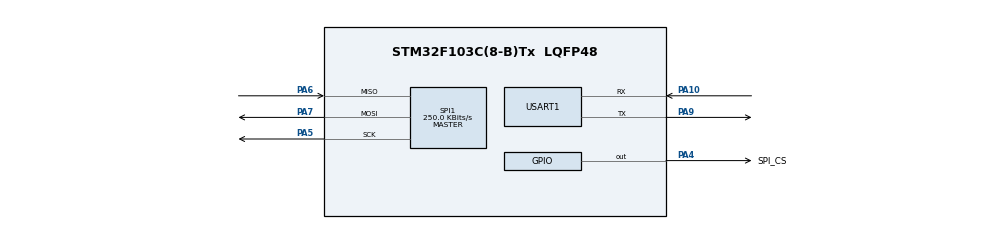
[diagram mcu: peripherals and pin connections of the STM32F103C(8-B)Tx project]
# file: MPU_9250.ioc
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Mcu.Family=STM32F1
Mcu.Name=STM32F103C(8-B)Tx
Mcu.Package=LQFP48
NVIC.PriorityGroup=NVIC_PRIORITYGROUP_4
NVIC.TIM2_IRQn=true\:0\:0\:false\:false\:true\:true\:true\:true
PA10.Mode=Asynchronous
PA10.Signal=USART1_RX
PA4.GPIO_Label=SPI_CS
PA4.Signal=GPIO_Output
PA5.Mode=Full_Duplex_Master
PA5.Signal=SPI1_SCK
PA6.Mode=Full_Duplex_Master
PA6.Signal=SPI1_MISO
PA7.Mode=Full_Duplex_Master
PA7.Signal=SPI1_MOSI
PA9.Mode=Asynchronous
PA9.Signal=USART1_TX
ProjectManager.HeapSize=0x200
ProjectManager.StackSize=0x400
ProjectManager.TargetToolchain=STM32CubeIDE
RCC.APB1Freq_Value=8000000
RCC.APB2Freq_Value=8000000
SPI1.BaudRatePrescaler=SPI_BAUDRATEPRESCALER_32
SPI1.CLKPhase=SPI_PHASE_2EDGE
SPI1.CLKPolarity=SPI_POLARITY_HIGH
SPI1.CalculateBaudRate=250.0 KBits/s
SPI1.Direction=SPI_DIRECTION_2LINES
SPI1.Mode=SPI_MODE_MASTER
SPI1.VirtualType=VM_MASTER
TIM2.Prescaler=7999
USART1.VirtualMode=VM_ASYNC
VP_SYS_VS_ND.Mode=No_Debug
VP_TIM2_VS_ClockSourceINT.Mode=Internal
board=custom

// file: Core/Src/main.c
/* USER CODE BEGIN Header */
/**
  ******************************************************************************
  * @file           : main.c
  * @brief          : Main program body
  ******************************************************************************
  * @attention
  *
  * Copyright (c) 2025 STMicroelectronics.
  * All rights reserved.
  *
  * This software is licensed under terms that can be found in the LICENSE file
  * in the root directory of this software component.
  * If no LICENSE file comes with this software, it is provided AS-IS.
  *
  ******************************************************************************
  */
/* USER CODE END Header */
#include "main.h"

/* USER CODE BEGIN Includes */
#include "math.h"
/* USER CODE END Includes */

SPI_HandleTypeDef hspi1;

TIM_HandleTypeDef htim2;

UART_HandleTypeDef huart1;

/* USER CODE BEGIN PV */
volatile uint8_t my_timer= 0;
/* USER CODE END PV */

void SystemClock_Config(void);
static void MX_GPIO_Init(void);
static void MX_SPI1_Init(void);
static void MX_USART1_UART_Init(void);
static void MX_TIM2_Init(void);

/* USER CODE BEGIN PFP */
void mpu9250_veri(uint8_t reg, uint8_t *data, uint8_t data_length);
/* USER CODE END PFP */

int main(void)
{

  /* MCU Configuration--------------------------------------------------------*/

  /* Reset of all peripherals, Initializes the Flash interface and the Systick. */
  HAL_Init();

  /* Configure the system clock */
  SystemClock_Config();

  /* Initialize all configured peripherals */
  MX_GPIO_Init();
  MX_SPI1_Init();
  MX_USART1_UART_Init();
  MX_TIM2_Init();
  /* USER CODE BEGIN 2 */
  int16_t accel_data_x;
  int16_t accel_data_y;
  int16_t accel_data_z;
  int16_t gyro_data_x;
  int16_t gyro_data_y;
  int16_t gyro_data_z;
  uint8_t imu_data[14];
  uint8_t imu_data_2[14];
  float accel_x;
  float accel_y;
  float accel_z;

  float theta_roll;
  float theta_pitch;
  /* USER CODE END 2 */

  /* Infinite loop */
  while (1)
  {
	  if(my_timer){
		  mpu9250_veri(59, imu_data, sizeof(imu_data));
		  accel_data_x = ((int16_t)imu_data[0]<<8) + imu_data[1]; //shift 8 bits ve bir sonraki byte'ı ekle
		  accel_data_y = ((int16_t)imu_data[2]<<8) + imu_data[3]; // y axis
		  accel_data_z = ((int16_t)imu_data[4]<<8) + imu_data[5]; // z axis

		  mpu9250_veri(67, imu_data_2, sizeof(imu_data_2));
		  gyro_data_x = ((int16_t)imu_data_2[0]<<8) + imu_data_2[1]; //shift 8 bits ve bir sonraki byte'ı ekle
		  gyro_data_y = ((int16_t)imu_data_2[2]<<8) + imu_data_2[3]; // y axis
		  gyro_data_z = ((int16_t)imu_data_2[4]<<8) + imu_data_2[5]; // z axis
		  my_timer = 0;

		  accel_x = accel_data_x/ 16384.0f;
		  accel_y = accel_data_y/ 16384.0f;
		  accel_z = accel_data_z/ 16384.0f;

		  theta_roll = atan2(accel_y , sqrt(accel_z*accel_z + accel_x*accel_x))*(180/3.142);
		  theta_pitch = atan2(-accel_x , sqrt(accel_z*accel_z + accel_y*accel_y))*(180/3.142);

		  char tx_buffer[64];  // Yazı için buffer
		  char tx_buffer_1[64];  // Yazı için buffer
		  char tx_buffer_2[64];  // Yazı için buffer

		  sprintf(tx_buffer, "accX:%d accY:%d accZ:%d\r", accel_data_x, accel_data_y, accel_data_z);
		  HAL_UART_Transmit(&huart1, (uint8_t*)tx_buffer, strlen(tx_buffer), 100);

		    if((accel_data_x > 11500 || accel_data_x < -11500) ||
		       (accel_data_y > 11500 || accel_data_y < -11500)){
		        HAL_GPIO_WritePin(GPIOA, GPIO_PIN_2, GPIO_PIN_SET); // Aktif et
		    } else {
		        HAL_GPIO_WritePin(GPIOA, GPIO_PIN_2, GPIO_PIN_RESET); // Pasif et
		    }

	  }

  }
}

void SystemClock_Config(void)
{
  RCC_OscInitTypeDef RCC_OscInitStruct = {0};
  RCC_ClkInitTypeDef RCC_ClkInitStruct = {0};

  /** Initializes the RCC Oscillators according to the specified parameters
  * in the RCC_OscInitTypeDef structure.
  */
  RCC_OscInitStruct.OscillatorType = RCC_OSCILLATORTYPE_HSI;
  RCC_OscInitStruct.HSIState = RCC_HSI_ON;
  RCC_OscInitStruct.HSICalibrationValue = RCC_HSICALIBRATION_DEFAULT;
  RCC_OscInitStruct.PLL.PLLState = RCC_PLL_NONE;
  if (HAL_RCC_OscConfig(&RCC_OscInitStruct) != HAL_OK)
  {
    Error_Handler();
  }

  /** Initializes the CPU, AHB and APB buses clocks
  */
  RCC_ClkInitStruct.ClockType = RCC_CLOCKTYPE_HCLK|RCC_CLOCKTYPE_SYSCLK
                              |RCC_CLOCKTYPE_PCLK1|RCC_CLOCKTYPE_PCLK2;
  RCC_ClkInitStruct.SYSCLKSource = RCC_SYSCLKSOURCE_HSI;
  RCC_ClkInitStruct.AHBCLKDivider = RCC_SYSCLK_DIV1;
  RCC_ClkInitStruct.APB1CLKDivider = RCC_HCLK_DIV1;
  RCC_ClkInitStruct.APB2CLKDivider = RCC_HCLK_DIV1;

  if (HAL_RCC_ClockConfig(&RCC_ClkInitStruct, FLASH_LATENCY_0) != HAL_OK)
  {
    Error_Handler();
  }
}

static void MX_SPI1_Init(void)
{

  /* SPI1 parameter configuration*/
  hspi1.Instance = SPI1;
  hspi1.Init.Mode = SPI_MODE_MASTER;
  hspi1.Init.Direction = SPI_DIRECTION_2LINES;
  hspi1.Init.DataSize = SPI_DATASIZE_8BIT;
  hspi1.Init.CLKPolarity = SPI_POLARITY_HIGH;
  hspi1.Init.CLKPhase = SPI_PHASE_2EDGE;
  hspi1.Init.NSS = SPI_NSS_SOFT;
  hspi1.Init.BaudRatePrescaler = SPI_BAUDRATEPRESCALER_32;
  hspi1.Init.FirstBit = SPI_FIRSTBIT_MSB;
  hspi1.Init.TIMode = SPI_TIMODE_DISABLE;
  hspi1.Init.CRCCalculation = SPI_CRCCALCULATION_DISABLE;
  hspi1.Init.CRCPolynomial = 10;
  if (HAL_SPI_Init(&hspi1) != HAL_OK)
  {
    Error_Handler();
  }

}

static void MX_TIM2_Init(void)
{

  /* USER CODE BEGIN TIM2_Init 0 */
	HAL_NVIC_SetPriority(TIM2_IRQn, 0, 0);
	HAL_NVIC_EnableIRQ(TIM2_IRQn);

  /* USER CODE END TIM2_Init 0 */

  TIM_ClockConfigTypeDef sClockSourceConfig = {0};
  TIM_MasterConfigTypeDef sMasterConfig = {0};

  htim2.Instance = TIM2;
  htim2.Init.Prescaler = 7999;
  htim2.Init.CounterMode = TIM_COUNTERMODE_UP;
  htim2.Init.Period = 500;
  htim2.Init.ClockDivision = TIM_CLOCKDIVISION_DIV1;
  htim2.Init.AutoReloadPreload = TIM_AUTORELOAD_PRELOAD_DISABLE;
  if (HAL_TIM_Base_Init(&htim2) != HAL_OK)
  {
    Error_Handler();
  }
  sClockSourceConfig.ClockSource = TIM_CLOCKSOURCE_INTERNAL;
  if (HAL_TIM_ConfigClockSource(&htim2, &sClockSourceConfig) != HAL_OK)
  {
    Error_Handler();
  }
  sMasterConfig.MasterOutputTrigger = TIM_TRGO_RESET;
  sMasterConfig.MasterSlaveMode = TIM_MASTERSLAVEMODE_DISABLE;
  if (HAL_TIMEx_MasterConfigSynchronization(&htim2, &sMasterConfig) != HAL_OK)
  {
    Error_Handler();
  }
  /* USER CODE BEGIN TIM2_Init 2 */
  HAL_TIM_Base_Start_IT(&htim2);
  HAL_TIM_Base_Start(&htim2);
  /* USER CODE END TIM2_Init 2 */

}

static void MX_USART1_UART_Init(void)
{

  huart1.Instance = USART1;
  huart1.Init.BaudRate = 115200;
  huart1.Init.WordLength = UART_WORDLENGTH_8B;
  huart1.Init.StopBits = UART_STOPBITS_1;
  huart1.Init.Parity = UART_PARITY_NONE;
  huart1.Init.Mode = UART_MODE_TX_RX;
  huart1.Init.HwFlowCtl = UART_HWCONTROL_NONE;
  huart1.Init.OverSampling = UART_OVERSAMPLING_16;
  if (HAL_UART_Init(&huart1) != HAL_OK)
  {
    Error_Handler();
  }

}

static void MX_GPIO_Init(void)
{
  GPIO_InitTypeDef GPIO_InitStruct = {0};

  /* GPIO Ports Clock Enable */
  __HAL_RCC_GPIOA_CLK_ENABLE();

  /*Configure GPIO pin Output Level */
  HAL_GPIO_WritePin(SPI_CS_GPIO_Port, SPI_CS_Pin, GPIO_PIN_RESET);

  /*Configure GPIO pin : SPI_CS_Pin */
  GPIO_InitStruct.Pin = SPI_CS_Pin;
  GPIO_InitStruct.Mode = GPIO_MODE_OUTPUT_PP;
  GPIO_InitStruct.Pull = GPIO_NOPULL;
  GPIO_InitStruct.Speed = GPIO_SPEED_FREQ_LOW;
  HAL_GPIO_Init(SPI_CS_GPIO_Port, &GPIO_InitStruct);

  /* USER CODE BEGIN MX_GPIO_Init_2 */
  /* USER CODE BEGIN MX_GPIO_Init_2 */
  // Örnek GPIO: PA5 çıkış olarak ayarlanıyor
  GPIO_InitStruct.Pin = GPIO_PIN_8;
  GPIO_InitStruct.Mode = GPIO_MODE_OUTPUT_PP;
  GPIO_InitStruct.Pull = GPIO_NOPULL;
  GPIO_InitStruct.Speed = GPIO_SPEED_FREQ_LOW;
  HAL_GPIO_Init(GPIOA, &GPIO_InitStruct);
  /* USER CODE END MX_GPIO_Init_2 */

  /* USER CODE END MX_GPIO_Init_2 */
}

/* USER CODE BEGIN 4 */
void HAL_TIM_PeriodElapsedCallback(TIM_HandleTypeDef *htim){
	if(htim == &htim2){
		my_timer = 1;
	}
}

void mpu9250_veri(uint8_t reg, uint8_t *data, uint8_t data_length){
	uint8_t tx_buffer[1];
	tx_buffer[0] = 0x80 | reg;  // Okuma ve adres

	HAL_GPIO_WritePin(SPI_CS_GPIO_Port, SPI_CS_Pin, GPIO_PIN_RESET);

	HAL_SPI_Transmit(&hspi1, tx_buffer, 1, 100);               // İlk olarak register adresini gönder
	HAL_SPI_Receive(&hspi1, data, data_length, 100);           // Ardından veri oku

	HAL_GPIO_WritePin(SPI_CS_GPIO_Port, SPI_CS_Pin, GPIO_PIN_SET);
}

/* USER CODE END 4 */

void Error_Handler(void)
{
  __disable_irq();
  while (1)
  {
  	  }
}
